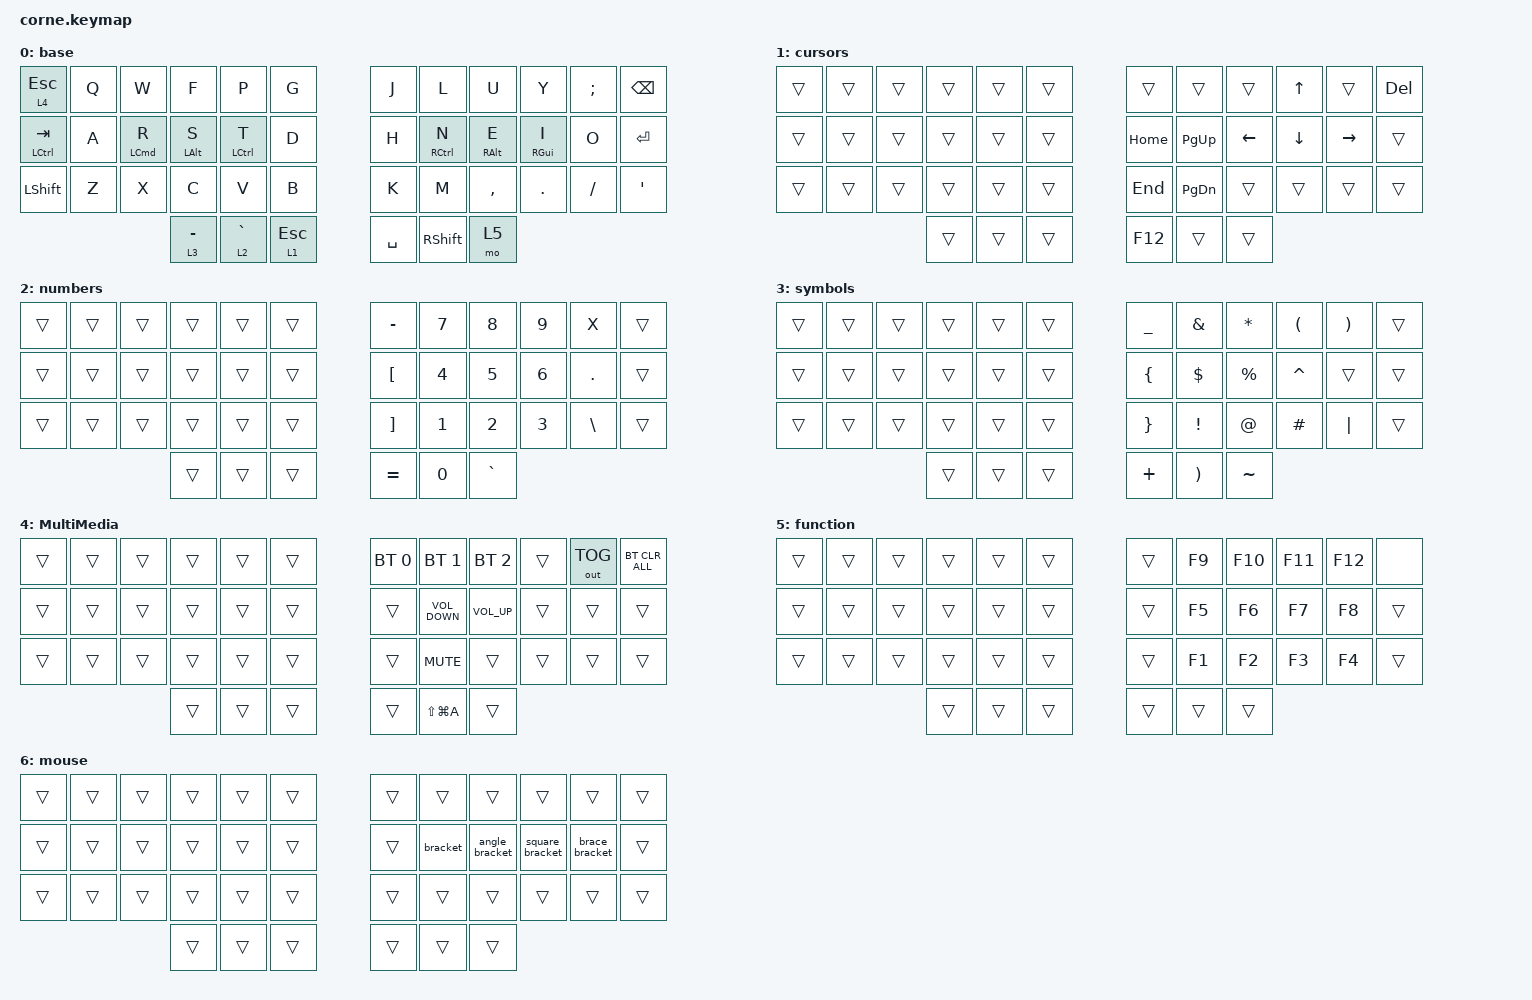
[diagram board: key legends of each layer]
#include <behaviors.dtsi>
#include <dt-bindings/zmk/bt.h>
#include <dt-bindings/zmk/keys.h>
#include <dt-bindings/zmk/outputs.h>

&lt {
    quick-tap-ms = <200>;
    flavor = "hold-preferred";
};

&mt {
    flavor = "balanced";
    tapping-term-ms = <350>;
};

/ {
    macros {
        bracket: bracket {
            compatible = "zmk,behavior-macro";
            #binding-cells = <0>;
            bindings = <&kp LEFT_PARENTHESIS &kp RIGHT_PARENTHESIS &kp LEFT>;
        };

        square_bracket: square_bracket {
            compatible = "zmk,behavior-macro";
            #binding-cells = <0>;
            bindings = <&kp LEFT_BRACKET &kp RIGHT_BRACKET &kp LEFT>;
            label = "SQUARE_BRACKET";
        };

        angle_bracket: angle_bracket {
            compatible = "zmk,behavior-macro";
            #binding-cells = <0>;
            bindings = <&kp LESS_THAN &kp GREATER_THAN &kp LEFT_ARROW>;
            label = "ANGLE_BRACKET";
        };

        brace_bracket: brace_bracket {
            compatible = "zmk,behavior-macro";
            #binding-cells = <0>;
            bindings = <&kp LEFT_BRACE &kp RIGHT_BRACE &kp LEFT>;
            label = "BRACE_BRACKET";
        };
    };

    behaviors {
        left_mt: left_mt {
            compatible = "zmk,behavior-hold-tap";
            label = "LEFT_MT";
            bindings = <&kp>, <&kp>;

            #binding-cells = <2>;
            tapping-term-ms = <200>;
            flavor = "balanced";
            hold-trigger-key-positions = <18 19 20 21 22 6 7 8 9 31 30 39 11 23>;
        };

        right_mt: right_mt {
            compatible = "zmk,behavior-hold-tap";
            label = "RIGHT_MT";
            bindings = <&kp>, <&kp>;

            #binding-cells = <2>;
            tapping-term-ms = <200>;
            flavor = "balanced";
            hold-trigger-key-positions = <13 14 15 16 17 1 2 3 4 13 14 15 16 17 25 26 27 28 29 39>;
        };
    };

    keymap {
        compatible = "zmk,keymap";

        base {
            bindings = <
&lt 4 ESC      &kp Q  &kp W                    &kp F                &kp P             &kp G           &kp J      &kp L              &kp U                  &kp Y                  &kp SEMI  &kp BSPC
&mt LCTRL TAB  &kp A  &left_mt LEFT_COMMAND R  &left_mt LEFT_ALT S  &left_mt LCTRL T  &kp D           &kp H      &right_mt RCTRL N  &right_mt RIGHT_ALT E  &right_mt RIGHT_GUI I  &kp O     &kp RET
&kp LSHFT      &kp Z  &kp X                    &kp C                &kp V             &kp B           &kp K      &kp M              &kp COMMA              &kp DOT                &kp FSLH  &kp SQT
                                               &lt 3 MINUS          &lt 2 GRAVE       &lt 1 ESCAPE    &kp SPACE  &kp RIGHT_SHIFT    &mo 5
            >;
        };

        cursors {
            bindings = <
&trans  &trans  &trans  &trans  &trans  &trans    &trans    &trans         &trans          &kp UP_ARROW  &trans     &kp DELETE
&trans  &trans  &trans  &trans  &trans  &trans    &kp HOME  &kp PAGE_UP    &kp LEFT_ARROW  &kp DOWN      &kp RIGHT  &trans
&trans  &trans  &trans  &trans  &trans  &trans    &kp END   &kp PAGE_DOWN  &trans          &trans        &trans     &trans
                        &trans  &trans  &trans    &kp F12   &trans         &trans
            >;
        };

        numbers {
            bindings = <
&trans  &trans  &trans  &trans  &trans  &trans    &kp MINUS          &kp N7        &kp N8     &kp N9  &kp X          &trans
&trans  &trans  &trans  &trans  &trans  &trans    &kp LEFT_BRACKET   &kp N4        &kp N5     &kp N6  &kp PERIOD     &trans
&trans  &trans  &trans  &trans  &trans  &trans    &kp RIGHT_BRACKET  &kp N1        &kp N2     &kp N3  &kp BACKSLASH  &trans
                        &trans  &trans  &trans    &kp EQUAL          &kp NUMBER_0  &kp GRAVE
            >;
        };

        symbols {
            bindings = <
&trans  &trans  &trans  &trans  &trans  &trans    &kp UNDER        &kp AMPS               &kp ASTERISK  &kp LEFT_PARENTHESIS  &kp RIGHT_PARENTHESIS  &trans
&trans  &trans  &trans  &trans  &trans  &trans    &kp LEFT_BRACE   &kp DOLLAR             &kp PERCENT   &kp CARET             &trans                 &trans
&trans  &trans  &trans  &trans  &trans  &trans    &kp RIGHT_BRACE  &kp EXCL               &kp AT        &kp HASH              &kp PIPE               &trans
                        &trans  &trans  &trans    &kp PLUS         &kp RIGHT_PARENTHESIS  &kp TILDE
            >;
        };

        MultiMedia {
            bindings = <
&trans  &trans  &trans  &trans  &trans  &trans    &bt BT_SEL 0  &bt BT_SEL 1       &bt BT_SEL 2     &trans  &out OUT_TOG  &bt BT_CLR_ALL
&trans  &trans  &trans  &trans  &trans  &trans    &trans        &kp C_VOLUME_DOWN  &kp C_VOLUME_UP  &trans  &trans        &trans
&trans  &trans  &trans  &trans  &trans  &trans    &trans        &kp K_MUTE         &trans           &trans  &trans        &trans
                        &trans  &trans  &trans    &trans        &kp LS(LG(A))      &trans
            >;
        };

        function {
            bindings = <
&trans  &trans  &trans  &trans  &trans  &trans    &trans  &kp F9  &kp F10  &kp F11  &kp F12  &none
&trans  &trans  &trans  &trans  &trans  &trans    &trans  &kp F5  &kp F6   &kp F7   &kp F8   &trans
&trans  &trans  &trans  &trans  &trans  &trans    &trans  &kp F1  &kp F2   &kp F3   &kp F4   &trans
                        &trans  &trans  &trans    &trans  &trans  &trans
            >;
        };

        mouse {
            bindings = <
&trans  &trans  &trans  &trans  &trans  &trans    &trans  &trans    &trans          &trans           &trans          &trans
&trans  &trans  &trans  &trans  &trans  &trans    &trans  &bracket  &angle_bracket  &square_bracket  &brace_bracket  &trans
&trans  &trans  &trans  &trans  &trans  &trans    &trans  &trans    &trans          &trans           &trans          &trans
                        &trans  &trans  &trans    &trans  &trans    &trans
            >;
        };
    };
};
